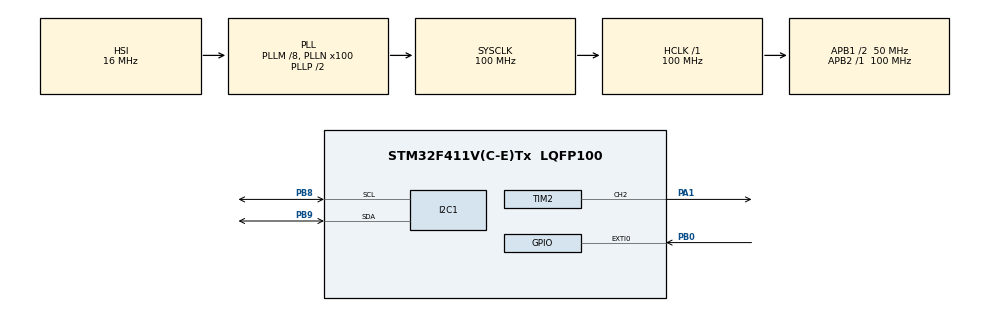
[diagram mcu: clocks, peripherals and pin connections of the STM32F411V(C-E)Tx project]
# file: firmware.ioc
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FREERTOS.Tasks01=defaultTask,24,128,StartDefaultTask,Default,NULL,Dynamic,NULL,NULL
FREERTOS.configUSE_NEWLIB_REENTRANT=1
I2C1.I2C_Mode=I2C_Standard
Mcu.Family=STM32F4
Mcu.Name=STM32F411V(C-E)Tx
Mcu.Package=LQFP100
NVIC.EXTI0_IRQn=true\:0\:0\:false\:false\:true\:false\:true\:true\:true
NVIC.PriorityGroup=NVIC_PRIORITYGROUP_4
NVIC.TIM1_UP_TIM10_IRQn=true\:15\:0\:false\:false\:true\:false\:false\:true\:true
NVIC.TimeBase=TIM1_UP_TIM10_IRQn
NVIC.TimeBaseIP=TIM1
PA1.GPIO_PuPd=GPIO_PULLDOWN
PA1.Signal=S_TIM2_CH2
PB0.Signal=GPXTI0
PB8.Mode=I2C
PB8.Signal=I2C1_SCL
PB9.Mode=I2C
PB9.Signal=I2C1_SDA
PC14-OSC32_IN.Mode=LSE-External-Oscillator
PC14-OSC32_IN.Signal=RCC_OSC32_IN
PC15-OSC32_OUT.Mode=LSE-External-Oscillator
PC15-OSC32_OUT.Signal=RCC_OSC32_OUT
PH0\ -\ OSC_IN.Mode=HSE-External-Oscillator
PH0\ -\ OSC_IN.Signal=RCC_OSC_IN
PH1\ -\ OSC_OUT.Mode=HSE-External-Oscillator
PH1\ -\ OSC_OUT.Signal=RCC_OSC_OUT
ProjectManager.HeapSize=0x200
ProjectManager.StackSize=0x400
ProjectManager.TargetToolchain=STM32CubeIDE
RCC.48MHZClocksFreq_Value=25000000
RCC.AHBFreq_Value=100000000
RCC.APB1CLKDivider=RCC_HCLK_DIV2
RCC.APB1Freq_Value=50000000
RCC.APB1TimFreq_Value=100000000
RCC.APB2Freq_Value=100000000
RCC.APB2TimFreq_Value=100000000
RCC.CortexFreq_Value=100000000
RCC.HCLKFreq_Value=100000000
RCC.HSE_VALUE=8000000
RCC.HSI_VALUE=16000000
RCC.PLLI2SM=5
RCC.PLLI2SN=200
RCC.PLLM=8
RCC.PLLN=100
RCC.PLLQ=8
RCC.SYSCLKFreq_VALUE=100000000
RCC.SYSCLKSource=RCC_SYSCLKSOURCE_PLLCLK
RCC.VCOOutputFreq_Value=200000000
SH.S_TIM2_CH2.0=TIM2_CH2,PWM Generation2 CH2
TIM2.Channel-PWM\ Generation2\ CH2=TIM_CHANNEL_2
VP_FREERTOS_VS_CMSIS_V2.Mode=CMSIS_V2
VP_SYS_VS_tim1.Mode=TIM1
board=STM32F411E-DISCO

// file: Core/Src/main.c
/* USER CODE BEGIN Header */
/**
  ******************************************************************************
  * @file           : main.c
  * @brief          : Main program body
  ******************************************************************************
  * @attention
  *
  * Copyright (c) 2025 STMicroelectronics.
  * All rights reserved.
  *
  * This software is licensed under terms that can be found in the LICENSE file
  * in the root directory of this software component.
  * If no LICENSE file comes with this software, it is provided AS-IS.
  *
  ******************************************************************************
  */
/* USER CODE END Header */
#include "main.h"
#include "cmsis_os.h"

/* USER CODE BEGIN Includes */
#include "string.h"
#include "queue.h"
#include "semphr.h"
#include "stdio.h"
#include "lcd.h"
/* USER CODE END Includes */

/* USER CODE BEGIN PD */
#define TIEMPOMS 50
#define LONGITUD 30000
/* USER CODE END PD */

I2C_HandleTypeDef hi2c1;

TIM_HandleTypeDef htim2;

/* Definitions for defaultTask */
osThreadId_t defaultTaskHandle;
const osThreadAttr_t defaultTask_attributes = {
  .name = "defaultTask",
  .stack_size = 128 * 4,
  .priority = (osPriority_t) osPriorityNormal,
};
/* USER CODE BEGIN PV */
SemaphoreHandle_t Counter;
QueueHandle_t DataSendOk;
/* USER CODE END PV */

void SystemClock_Config(void);
static void MX_GPIO_Init(void);
static void MX_I2C1_Init(void);
static void MX_TIM2_Init(void);
void StartDefaultTask(void *argument);

/* USER CODE BEGIN 0 */
void PWM_Init(){
	  htim2.Instance = TIM2;
	  htim2.Init.Prescaler = 0;
	  htim2.Init.CounterMode = TIM_COUNTERMODE_UP;
	  htim2.Init.Period = 4;       // 20MHz: 100MHz / (4+1)
	  htim2.Init.ClockDivision = TIM_CLOCKDIVISION_DIV1;
	  HAL_TIM_PWM_Init(&htim2);

	  TIM_OC_InitTypeDef sConfigOC = {0};
	  sConfigOC.OCMode = TIM_OCMODE_PWM1;
	  sConfigOC.Pulse = 2;         // 50% duty (ARR/2)
	  sConfigOC.OCPolarity = TIM_OCPOLARITY_HIGH;
	  HAL_TIM_PWM_ConfigChannel(&htim2, &sConfigOC, TIM_CHANNEL_2);

	  HAL_TIM_PWM_Start(&htim2, TIM_CHANNEL_2);
}

void test(void *p){
	TickType_t xMsTime = xTaskGetTickCount();
	for(;;){
		xMsTime = xTaskGetTickCount();
		HAL_NVIC_DisableIRQ(EXTI0_IRQn);
		vTaskDelayUntil(&xMsTime, 1000/portTICK_RATE_MS);
	}
}
void FreqCalc(void *p){
	float ciclos=0;
	float freq=0;
	int freq1=0;
	int freq2=0;
	TickType_t xMsTime = xTaskGetTickCount();
	char buf[30];
	HAL_NVIC_EnableIRQ(EXTI0_IRQn);	//Habilito la interrupción acá para evitar problemas con semaphore Counter
	for(;;){
		if((xTaskGetTickCount()-xMsTime)>=(1000/portTICK_RATE_MS)){
			ciclos=0;
			ciclos=uxSemaphoreGetCount(Counter);
			freq=(float)ciclos;
			freq1=(int)freq;
			freq2=(int)((freq-freq1)*100);
			sprintf(buf, "freq: %d.%02dkHz", freq1,freq2);
			lcd_clear();
			lcd_put_cursor(0, 0);
			lcd_send_string(buf);
			xMsTime = xTaskGetTickCount();
			xQueueReset(Counter);
		}
	}
}
/* USER CODE END 0 */

int main(void)
{

  /* MCU Configuration--------------------------------------------------------*/

  /* Reset of all peripherals, Initializes the Flash interface and the Systick. */
  HAL_Init();

  /* Configure the system clock */
  SystemClock_Config();

  /* Initialize all configured peripherals */
  MX_GPIO_Init();
  MX_I2C1_Init();
  MX_TIM2_Init();
  /* USER CODE BEGIN 2 */
  PWM_Init();
  lcd_init(&hi2c1, 0x27);
  lcd_put_cursor(0, 0);
  /* USER CODE END 2 */

  /* Init scheduler */
  osKernelInitialize();

  /* USER CODE BEGIN RTOS_SEMAPHORES */
  Counter = xSemaphoreCreateCounting(LONGITUD,0);
  /* USER CODE END RTOS_SEMAPHORES */

  /* USER CODE BEGIN RTOS_QUEUES */
  DataSendOk = xQueueCreate(1,sizeof(char[20]));
  /* USER CODE END RTOS_QUEUES */

  /* Create the thread(s) */
  /* creation of defaultTask */
  defaultTaskHandle = osThreadNew(StartDefaultTask, NULL, &defaultTask_attributes);

  /* USER CODE BEGIN RTOS_THREADS */
  xTaskCreate(FreqCalc,"Frequency_Calc", configMINIMAL_STACK_SIZE, NULL, osPriorityAboveNormal, NULL);
  /* USER CODE END RTOS_THREADS */

  /* Start scheduler */
  osKernelStart();

  /* We should never get here as control is now taken by the scheduler */

  /* Infinite loop */
  while (1)
  {

  }
}

void SystemClock_Config(void)
{
  RCC_OscInitTypeDef RCC_OscInitStruct = {0};
  RCC_ClkInitTypeDef RCC_ClkInitStruct = {0};

  /** Configure the main internal regulator output voltage
  */
  __HAL_RCC_PWR_CLK_ENABLE();
  __HAL_PWR_VOLTAGESCALING_CONFIG(PWR_REGULATOR_VOLTAGE_SCALE1);

  /** Initializes the RCC Oscillators according to the specified parameters
  * in the RCC_OscInitTypeDef structure.
  */
  RCC_OscInitStruct.OscillatorType = RCC_OSCILLATORTYPE_HSI;
  RCC_OscInitStruct.HSIState = RCC_HSI_ON;
  RCC_OscInitStruct.HSICalibrationValue = RCC_HSICALIBRATION_DEFAULT;
  RCC_OscInitStruct.PLL.PLLState = RCC_PLL_ON;
  RCC_OscInitStruct.PLL.PLLSource = RCC_PLLSOURCE_HSI;
  RCC_OscInitStruct.PLL.PLLM = 8;
  RCC_OscInitStruct.PLL.PLLN = 100;
  RCC_OscInitStruct.PLL.PLLP = RCC_PLLP_DIV2;
  RCC_OscInitStruct.PLL.PLLQ = 8;
  if (HAL_RCC_OscConfig(&RCC_OscInitStruct) != HAL_OK)
  {
    Error_Handler();
  }

  /** Initializes the CPU, AHB and APB buses clocks
  */
  RCC_ClkInitStruct.ClockType = RCC_CLOCKTYPE_HCLK|RCC_CLOCKTYPE_SYSCLK
                              |RCC_CLOCKTYPE_PCLK1|RCC_CLOCKTYPE_PCLK2;
  RCC_ClkInitStruct.SYSCLKSource = RCC_SYSCLKSOURCE_PLLCLK;
  RCC_ClkInitStruct.AHBCLKDivider = RCC_SYSCLK_DIV1;
  RCC_ClkInitStruct.APB1CLKDivider = RCC_HCLK_DIV2;
  RCC_ClkInitStruct.APB2CLKDivider = RCC_HCLK_DIV1;

  if (HAL_RCC_ClockConfig(&RCC_ClkInitStruct, FLASH_LATENCY_3) != HAL_OK)
  {
    Error_Handler();
  }
}

static void MX_I2C1_Init(void)
{

  hi2c1.Instance = I2C1;
  hi2c1.Init.ClockSpeed = 100000;
  hi2c1.Init.DutyCycle = I2C_DUTYCYCLE_2;
  hi2c1.Init.OwnAddress1 = 0;
  hi2c1.Init.AddressingMode = I2C_ADDRESSINGMODE_7BIT;
  hi2c1.Init.DualAddressMode = I2C_DUALADDRESS_DISABLE;
  hi2c1.Init.OwnAddress2 = 0;
  hi2c1.Init.GeneralCallMode = I2C_GENERALCALL_DISABLE;
  hi2c1.Init.NoStretchMode = I2C_NOSTRETCH_DISABLE;
  if (HAL_I2C_Init(&hi2c1) != HAL_OK)
  {
    Error_Handler();
  }

}

static void MX_TIM2_Init(void)
{

  TIM_MasterConfigTypeDef sMasterConfig = {0};
  TIM_OC_InitTypeDef sConfigOC = {0};

  htim2.Instance = TIM2;
  htim2.Init.Prescaler = 0;
  htim2.Init.CounterMode = TIM_COUNTERMODE_UP;
  htim2.Init.Period = 4294967295;
  htim2.Init.ClockDivision = TIM_CLOCKDIVISION_DIV1;
  htim2.Init.AutoReloadPreload = TIM_AUTORELOAD_PRELOAD_DISABLE;
  if (HAL_TIM_PWM_Init(&htim2) != HAL_OK)
  {
    Error_Handler();
  }
  sMasterConfig.MasterOutputTrigger = TIM_TRGO_RESET;
  sMasterConfig.MasterSlaveMode = TIM_MASTERSLAVEMODE_DISABLE;
  if (HAL_TIMEx_MasterConfigSynchronization(&htim2, &sMasterConfig) != HAL_OK)
  {
    Error_Handler();
  }
  sConfigOC.OCMode = TIM_OCMODE_PWM1;
  sConfigOC.Pulse = 0;
  sConfigOC.OCPolarity = TIM_OCPOLARITY_HIGH;
  sConfigOC.OCFastMode = TIM_OCFAST_DISABLE;
  if (HAL_TIM_PWM_ConfigChannel(&htim2, &sConfigOC, TIM_CHANNEL_2) != HAL_OK)
  {
    Error_Handler();
  }
  HAL_TIM_MspPostInit(&htim2);

}

static void MX_GPIO_Init(void)
{
  GPIO_InitTypeDef GPIO_InitStruct = {0};

  /* GPIO Ports Clock Enable */
  __HAL_RCC_GPIOC_CLK_ENABLE();
  __HAL_RCC_GPIOH_CLK_ENABLE();
  __HAL_RCC_GPIOA_CLK_ENABLE();
  __HAL_RCC_GPIOB_CLK_ENABLE();

  /*Configure GPIO pin : PB0 */
  GPIO_InitStruct.Pin = GPIO_PIN_0;
  GPIO_InitStruct.Mode = GPIO_MODE_IT_RISING;
  GPIO_InitStruct.Pull = GPIO_NOPULL;
  HAL_GPIO_Init(GPIOB, &GPIO_InitStruct);

  /* EXTI interrupt init*/
  HAL_NVIC_SetPriority(EXTI0_IRQn, 5, 0);
  //HAL_NVIC_EnableIRQ(EXTI0_IRQn);

}

/* USER CODE BEGIN 4 */
void HAL_GPIO_EXTI_Callback(uint16_t GPIO_Pin)
{
	static portBASE_TYPE xHigherPriorityTaskWoken = pdFALSE;
	if(GPIO_Pin==GPIO_PIN_0){
		//xSemaphoreGiveFromISR(Counter,&xHigherPriorityTaskWoken);
		//portYIELD_FROM_ISR(xHigherPriorityTaskWoken);
		static uint16_t isrCounter = 0;
		if(++isrCounter >= 100) {
			isrCounter = 0;
		    xSemaphoreGiveFromISR(Counter, &xHigherPriorityTaskWoken);
		}
	}
}
/* USER CODE END 4 */

void StartDefaultTask(void *argument)
{
  for(;;)
  {
    osDelay(1);
  }
}

void HAL_TIM_PeriodElapsedCallback(TIM_HandleTypeDef *htim)
{
  if (htim->Instance == TIM1) {
    HAL_IncTick();
  }
}

void Error_Handler(void)
{
  __disable_irq();
  while (1)
  {
  }
}
